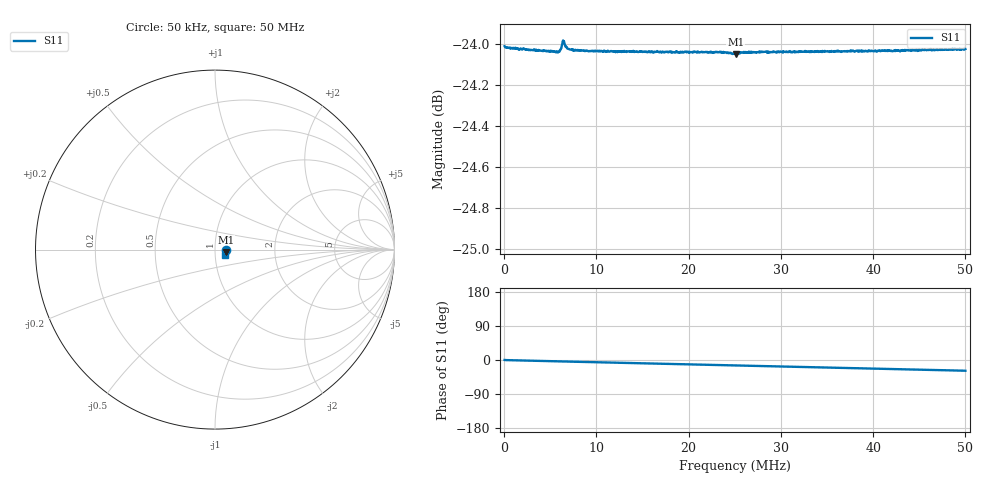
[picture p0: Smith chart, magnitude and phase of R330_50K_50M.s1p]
# HZ S RI R 50
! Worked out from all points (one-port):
!   1010 points, 50 kHz to 50 MHz, reference 50 ohm
!   lowest |S11| = -24.0 dB at 25.1 MHz (marker M1), VSWR 1.13, Z = 56.4 - j1.76 ohm
!   |S11| at or under -10 dB: start of sweep to end of sweep
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50000  0.063 0.00014
545040  0.0629 -0.000578
1238096  0.0629 -0.00106
1733136  0.0629 -0.00138
1980656  0.0629 -0.00152
2574704  0.0629 -0.00192
5742960  0.0627 -0.00381
5990480  0.0627 -0.00392
6238000  0.0629 -0.00394
6337008  0.063 -0.00398
6535024  0.063 -0.00428
6881552  0.0628 -0.00454
7079568  0.0627 -0.00469
7574608  0.0626 -0.00499
9257744  0.0626 -0.00599
1.257451e7  0.0623 -0.00803
1.881202e7  0.0617 -0.0118
2.331688e7  0.0611 -0.0145
2.504952e7  0.0608 -0.0155
2.509902e7  0.0608 -0.0155
2.594059e7  0.0607 -0.016
2.821778e7  0.0604 -0.0174
2.876232e7  0.0602 -0.0177
3.128702e7  0.0598 -0.0192
3.752453e7  0.0585 -0.0228
4.197989e7  0.0575 -0.0254
4.376203e7  0.0571 -0.0264
4.999954e7  0.0554 -0.0298
